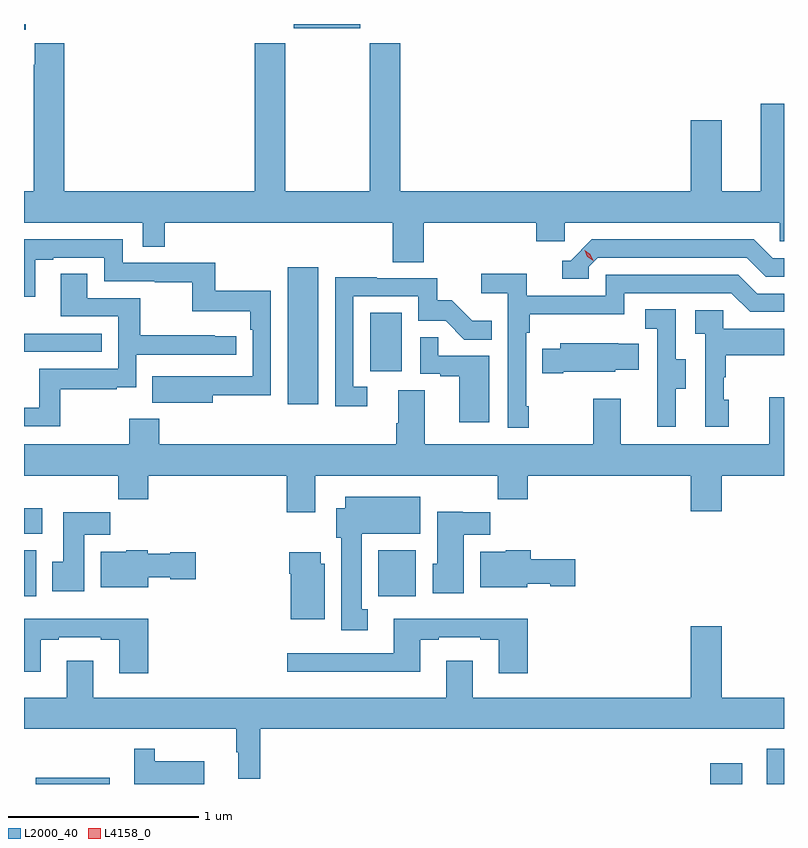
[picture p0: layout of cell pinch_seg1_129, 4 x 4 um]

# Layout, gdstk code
import gdstk
lib = gdstk.Library(unit=1e-6, precision=1e-09)
def R(c, l, rs):  # rectangles x0, y0, x1, y1
    for r in rs: c.add(gdstk.rectangle(r[:2], r[2:], *l))
def P(c, l, *ps):  # polygons
    for p in ps: c.add(gdstk.Polygon(p, *l))
L2000_40 = (2000, 40)
L4158_0 = (4158, 0)

pinch_seg1_129 = lib.new_cell('pinch_seg1_129')
R(pinch_seg1_129, L2000_40, [(1024.698,551.441,1025.086,551.473), (1028.246,551.441,1028.416,551.551), (1028.544,551.441,1028.635,551.626), (1024.635,552.428,1024.699,552.67), (1026.5,552.428,1026.697,552.67), (1024.635,552.758,1024.732,552.892), (1026.023,553.44,1026.184,554.161), (1026.458,553.614,1026.622,553.921), (1024.635,553.716,1025.045,553.812), (1024.635,555.411,1024.645,555.441), (1026.056,555.419,1026.406,555.441)])
P(pinch_seg1_129, L2000_40, [(1026.74,554.396),(1027.331,554.396),(1027.331,554.298),(1027.482,554.298),(1027.482,554.396),(1028.613,554.396),(1028.613,554.298),(1028.635,554.298),(1028.635,555.022),(1028.513,555.022),(1028.513,554.56),(1028.308,554.56),(1028.308,554.935),(1028.144,554.935),(1028.144,554.56),(1026.614,554.56),(1026.614,555.34),(1026.454,555.34),(1026.454,554.56),(1026.009,554.56),(1026.009,555.34),(1025.849,555.34),(1025.849,554.56),(1024.847,554.56),(1024.847,555.34),(1024.691,555.34),(1024.691,555.227),(1024.687,555.227),(1024.687,554.56),(1024.635,554.56),(1024.635,554.396),(1025.259,554.396),(1025.259,554.269),(1025.375,554.269),(1025.375,554.396),(1026.575,554.396),(1026.575,554.188),(1026.74,554.188)],
  [(1027.608,554.163),(1027.656,554.211),(1028.439,554.211),(1028.538,554.112),(1028.635,554.112),(1028.635,554.208),(1028.575,554.208),(1028.476,554.307),(1027.623,554.307),(1027.512,554.196),(1027.469,554.196),(1027.469,554.1),(1027.608,554.1)],
  [(1025.629,553.486),(1025.934,553.486),(1025.934,554.038),(1025.641,554.038),(1025.641,554.184),(1025.154,554.184),(1025.154,554.307),(1024.635,554.307),(1024.635,554.006),(1024.693,554.006),(1024.693,554.199),(1024.789,554.199),(1024.789,554.211),(1025.058,554.211),(1025.058,554.088),(1025.323,554.088),(1025.323,554.083),(1025.52,554.083),(1025.52,553.928),(1025.825,553.928),(1025.825,553.832),(1025.838,553.832),(1025.838,553.587),(1025.525,553.587),(1025.525,553.588),(1025.311,553.588),(1025.311,553.448),(1025.629,553.448)],
  [(1027.291,553.429),(1027.278,553.429),(1027.278,553.817),(1027.298,553.817),(1027.298,553.913),(1027.794,553.913),(1027.794,554.025),(1028.358,554.025),(1028.457,553.926),(1028.635,553.926),(1028.635,554.022),(1028.494,554.022),(1028.395,554.121),(1027.698,554.121),(1027.698,554.01),(1027.28,554.01),(1027.28,554.126),(1027.041,554.126),(1027.041,554.024),(1027.182,554.024),(1027.182,553.317),(1027.291,553.317)],
  [(1024.825,553.518),(1025.123,553.518),(1025.123,553.529),(1025.226,553.529),(1025.226,553.701),(1025.752,553.701),(1025.752,553.797),(1025.639,553.797),(1025.639,553.802),(1025.246,553.802),(1025.246,553.998),(1024.969,553.998),(1024.969,554.126),(1024.829,554.126),(1024.829,553.902),(1025.13,553.902),(1025.13,553.626),(1024.714,553.626),(1024.714,553.42),(1024.635,553.42),(1024.635,553.323),(1024.825,553.323)],
  [(1026.442,553.533),(1026.369,553.533),(1026.369,554.007),(1026.711,554.007),(1026.711,553.878),(1026.855,553.878),(1026.953,553.78),(1027.097,553.78),(1027.097,553.879),(1026.993,553.879),(1026.886,553.986),(1026.81,553.986),(1026.81,554.103),(1026.491,554.103),(1026.491,554.108),(1026.273,554.108),(1026.273,553.428),(1026.442,553.428)],
  [(1028.065,553.522),(1028.119,553.522),(1028.119,553.677),(1028.064,553.677),(1028.064,553.94),(1027.905,553.94),(1027.905,553.837),(1027.968,553.837),(1027.968,553.533),(1027.967,553.533),(1027.967,553.32),(1028.065,553.32)],
  [(1028.344,553.464),(1028.319,553.464),(1028.319,553.583),(1028.329,553.583),(1028.329,553.697),(1028.635,553.697),(1028.635,553.837),(1028.316,553.837),(1028.316,553.935),(1028.169,553.935),(1028.169,553.811),(1028.22,553.811),(1028.22,553.32),(1028.344,553.32)],
  [(1027.084,553.695),(1026.815,553.695),(1026.815,553.793),(1026.72,553.793),(1026.72,553.599),(1026.827,553.599),(1026.827,553.587),(1026.926,553.587),(1026.926,553.344),(1027.084,553.344)],
  [(1027.474,553.61),(1027.746,553.61),(1027.746,553.622),(1027.871,553.622),(1027.871,553.759),(1027.763,553.759),(1027.763,553.762),(1027.457,553.762),(1027.457,553.732),(1027.363,553.732),(1027.363,553.603),(1027.474,553.603)],
  [(1026.745,553.514),(1026.605,553.514),(1026.605,553.34),(1026.593,553.34),(1026.593,553.228),(1025.348,553.228),(1025.348,553.363),(1025.188,553.363),(1025.188,553.228),(1024.635,553.228),(1024.635,553.064),(1025.131,553.064),(1025.131,552.94),(1025.288,552.94),(1025.288,553.064),(1026.017,553.064),(1026.017,552.87),(1026.169,552.87),(1026.169,553.064),(1027.129,553.064),(1027.129,552.94),(1027.286,552.94),(1027.286,553.064),(1028.144,553.064),(1028.144,552.876),(1028.308,552.876),(1028.308,553.064),(1028.635,553.064),(1028.635,553.477),(1028.558,553.477),(1028.558,553.228),(1027.777,553.228),(1027.777,553.468),(1027.63,553.468),(1027.63,553.228),(1026.745,553.228)],
  [(1026.445,552.362),(1026.412,552.362),(1026.412,552.758),(1026.721,552.758),(1026.721,552.952),(1026.326,552.952),(1026.326,552.892),(1026.278,552.892),(1026.278,552.738),(1026.305,552.738),(1026.305,552.249),(1026.445,552.249)],
  [(1026.949,552.752),(1027.088,552.752),(1027.088,552.87),(1026.945,552.87),(1026.945,552.874),(1026.809,552.874),(1026.809,552.6),(1026.785,552.6),(1026.785,552.446),(1026.949,552.446)],
  [(1024.951,552.752),(1025.09,552.752),(1025.09,552.871),(1024.841,552.871),(1024.841,552.612),(1024.784,552.612),(1024.784,552.456),(1024.951,552.456)],
  [(1025.29,552.53),(1025.406,552.53),(1025.406,552.518),(1025.539,552.518),(1025.539,552.66),(1025.406,552.66),(1025.406,552.652),(1025.286,552.652),(1025.286,552.67),(1025.172,552.67),(1025.172,552.664),(1025.039,552.664),(1025.039,552.476),(1025.29,552.476)],
  [(1027.284,552.494),(1027.404,552.494),(1027.404,552.482),(1027.537,552.482),(1027.537,552.624),(1027.301,552.624),(1027.301,552.67),(1027.17,552.67),(1027.17,552.664),(1027.037,552.664),(1027.037,552.476),(1027.284,552.476)],
  [(1026.217,552.6),(1026.196,552.6),(1026.196,552.661),(1026.031,552.661),(1026.031,552.548),(1026.038,552.548),(1026.038,552.308),(1026.217,552.308)],
  [(1027.286,552.31),(1026.581,552.31),(1026.581,552.129),(1026.021,552.129),(1026.021,552.032),(1026.721,552.032),(1026.721,552.201),(1026.817,552.201),(1026.817,552.213),(1027.037,552.213),(1027.037,552.201),(1027.133,552.201),(1027.133,552.024),(1027.286,552.024)],
  [(1025.288,552.31),(1024.635,552.31),(1024.635,552.032),(1024.723,552.032),(1024.723,552.201),(1024.819,552.201),(1024.819,552.213),(1025.039,552.213),(1025.039,552.201),(1025.135,552.201),(1025.135,552.024),(1025.288,552.024)],
  [(1025.879,551.732),(1028.635,551.732),(1028.635,551.896),(1028.308,551.896),(1028.308,552.271),(1028.144,552.271),(1028.144,551.896),(1026.997,551.896),(1026.997,552.091),(1026.857,552.091),(1026.857,551.896),(1024.999,551.896),(1024.999,552.091),(1024.859,552.091),(1024.859,551.896),(1024.635,551.896),(1024.635,551.732),(1025.751,551.732),(1025.751,551.609),(1025.762,551.609),(1025.762,551.469),(1025.879,551.469)],
  [(1025.584,551.56),(1025.323,551.56),(1025.323,551.626),(1025.214,551.626),(1025.214,551.441),(1025.584,551.441)])
P(pinch_seg1_129, L4158_0, [(1027.631,554.196),(1027.6,554.216),(1027.585,554.249),(1027.585,554.249),(1027.585,554.249),(1027.616,554.229),(1027.631,554.196),(1027.631,554.196)])

lib.write_gds('pinch_seg1_129.gds')
